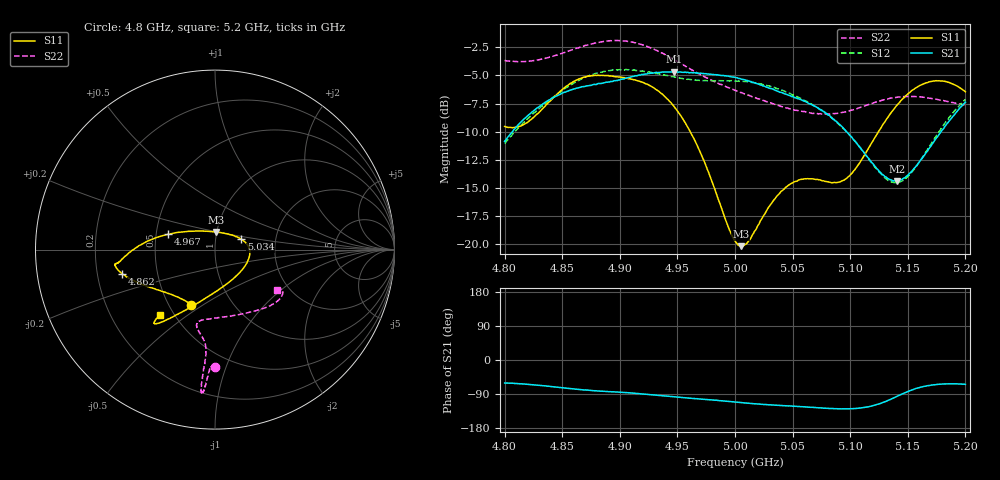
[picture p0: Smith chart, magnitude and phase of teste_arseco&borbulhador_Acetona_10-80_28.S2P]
! Network Analyzer HP8722D
! Hewlett-Packard
! Data name: Linha & Wilkinson
! Saver's name: Rodrigo Anjos
! Comments: Teste da utilização de aquisição
! continua pelo VNA HP8722D
! Time and date: 17/4/2025 14:35
!  Frequency  S11  S21  S12  S22
# HZ  S  MA R 50
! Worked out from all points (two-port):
!   401 points, 4.8 GHz to 5.2 GHz, reference 50 ohm
!   highest |S21| = -4.68 dB at 4.947 GHz (marker M1); lowest = -14.4 dB at 5.141 GHz (marker M2)
!   |S21| within 3 dB of the highest: 4.831 GHz to 5.068 GHz (236.6 MHz wide, 4.78 % of centre); 5.197216 GHz to end of sweep
!   lowest |S11| = -20.2 dB at 5.005 GHz (marker M3), VSWR 1.22, Z = 49.8 + j9.82 ohm
!   |S11| at or under -10 dB: 4.961 GHz to 5.125 GHz (163.4 MHz wide, 3.24 % of centre)
!   |S22| runs from -8.5 to -1.9 dB; largest |S21 - S12| = 0.88
!   S11 on the Smith chart (normalised r, x): 4.8 GHz: 0.65, -0.45; 4.862 GHz: 0.31, -0.11; 4.967 GHz: 0.58, +0.11; 5.034 GHz: 1.33, +0.16; 5.2 GHz: 0.42, -0.39
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4.8e9  0.3338 -113.3  0.2865 -60.9  0.2801 -175.0  0.6554 -90.0
4.819e9  0.3462 -133.1  0.368 -63.8  0.3568 -173.5  0.6507 -91.5
4.862e9  0.5354 -165.6  0.4931 -76.9  0.5288 -176.7  0.7425 -93.7
4.867e9  0.5483 -167.5  0.5013 -78.4  0.5443 -177.6  0.7563 -93.9
4.9e9  0.5535 -172.0  0.5373 -85.0  0.5972 175.8  0.8034 -95.3
4.934e9  0.4775 -178.0  0.5799 -93.5  0.5726 171.9  0.7172 -95.7
4.947e9  0.41 176.0  0.5837 -97.0  0.5547 172.1  0.6637 -95.3
4.967e9  0.276 162.1  0.5764 -102.1  0.535 173.9  0.5786 -95.0
5e9  0.1032 102.9  0.5522 -111.0  0.531 176.2  0.4829 -99.2
5.005e9  0.0979 85.4  0.5434 -112.4  0.5286 176.2  0.4718 -100.2
5.012e9  0.1036 62.6  0.5309 -114.2  0.5247 176.0  0.4586 -101.8
5.034e9  0.1577 21.6  0.4854 -119.0  0.498 174.8  0.4191 -103.7
5.05e9  0.1872 5.5  0.4534 -122.0  0.4604 174.2  0.3975 -99.8
5.067e9  0.1951 -12.8  0.4166 -124.8  0.418 173.6  0.381 -91.0
5.086e9  0.1881 -42.8  0.3584 -128.5  0.3567 173.7  0.3804 -76.6
5.097e9  0.1963 -65.4  0.3157 -128.9  0.315 174.4  0.389 -67.5
5.134e9  0.3749 -115.9  0.1939 -105.3  0.1907 -157.9  0.4445 -42.9
5.141e9  0.4166 -120.0  0.191 -95.3  0.1872 -147.1  0.45 -39.9
5.153e9  0.48 -124.9  0.21 -79.7  0.2074 -128.9  0.4535 -35.7
5.17e9  0.5286 -128.6  0.2725 -66.5  0.2785 -112.6  0.445 -31.9
5.184e9  0.5263 -129.9  0.3432 -63.0  0.3548 -107.2  0.4314 -30.9
5.2e9  0.4762 -130.4  0.4276 -64.2  0.4402 -106.3  0.4144 -33.2
